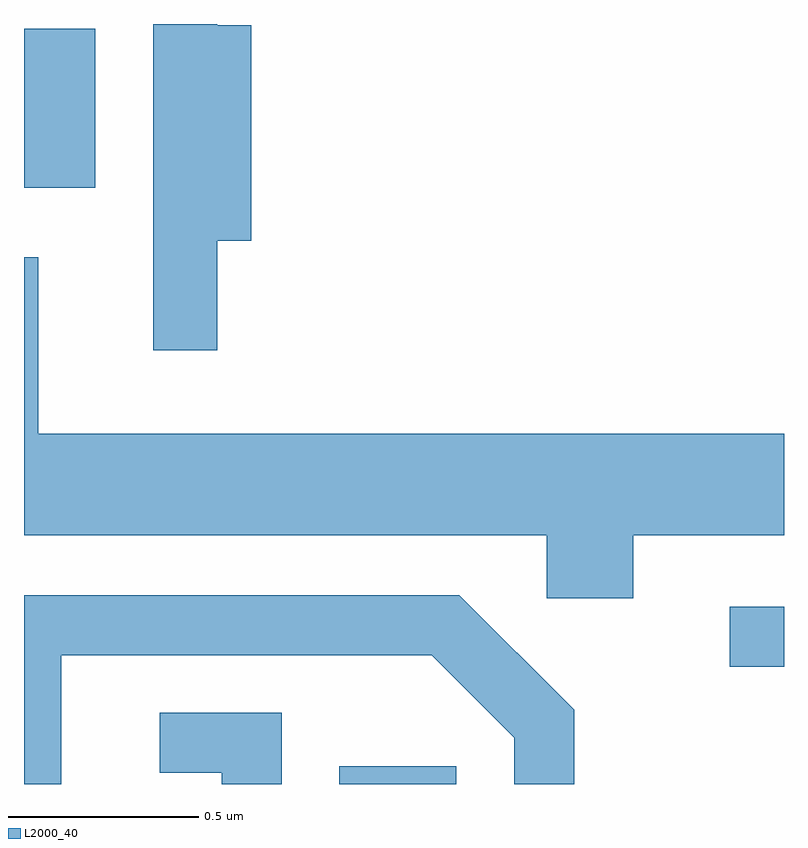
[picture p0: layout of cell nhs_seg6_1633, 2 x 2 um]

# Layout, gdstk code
import gdstk
lib = gdstk.Library(unit=1e-6, precision=1e-09)
def R(c, l, rs):  # rectangles x0, y0, x1, y1
    for r in rs: c.add(gdstk.rectangle(r[:2], r[2:], *l))
def P(c, l, *ps):  # polygons
    for p in ps: c.add(gdstk.Polygon(p, *l))
L2000_40 = (2000, 40)

nhs_seg6_1633 = lib.new_cell('nhs_seg6_1633')
R(nhs_seg6_1633, L2000_40, [(197.441,1658.162,197.749,1658.209), (198.468,1658.471,198.611,1658.629), (196.611,1659.731,196.799,1660.149)])
P(nhs_seg6_1633, L2000_40, [(197.119,1659.591),(197.209,1659.591),(197.209,1660.159),(197.119,1660.159),(197.119,1660.162),(196.951,1660.162),(196.951,1659.303),(197.119,1659.303)],
  [(198.214,1658.816),(198.611,1658.816),(198.611,1659.084),(196.649,1659.084),(196.649,1659.548),(196.611,1659.548),(196.611,1658.816),(197.986,1658.816),(197.986,1658.651),(198.214,1658.651)],
  [(196.709,1658.501),(197.684,1658.501),(197.901,1658.284),(197.901,1658.162),(198.059,1658.162),(198.059,1658.357),(197.757,1658.659),(196.611,1658.659),(196.611,1658.162),(196.709,1658.162)],
  [(197.289,1658.349),(196.968,1658.349),(196.968,1658.191),(197.131,1658.191),(197.131,1658.162),(197.289,1658.162)])

lib.write_gds('nhs_seg6_1633.gds')
